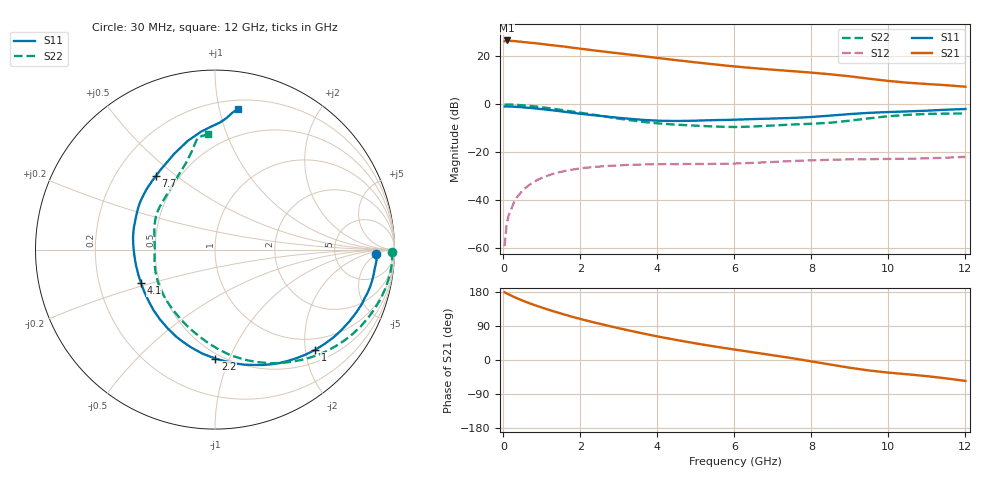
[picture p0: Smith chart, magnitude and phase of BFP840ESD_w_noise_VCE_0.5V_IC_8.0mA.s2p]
! Infineon Technologies  Discrete & RF Semiconductors
! BFP840ESD
! VCE =  0.5 V,  IC =  8.0 mA
! Common Emitter S-Parameters:  May 2012
# GHz  S  MA  R  50
!  f  S11  S21  S12  S22
! GHz  MAG  ANG  MAG  ANG  MAG  ANG  MAG  ANG
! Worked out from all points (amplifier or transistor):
!   93 points, 30 MHz to 12 GHz, reference 50 ohm
!   highest |S21| = 26.6 dB at 80 MHz (marker M1)
!   |S21| within 3 dB of that: start of sweep to 1.782 GHz
!   unconditionally stable (mu >= 1): 5.637 GHz to 11.15 GHz
!   at 1.1 GHz: K = 0.23, MSG = 27.5 dB, |S12| = -30.1 dB
!   at 4.2 GHz: K = 0.75, MSG = 21.9 dB, |S12| = -24.9 dB
!   at 12 GHz: K = 0.87, MSG = 14.6 dB, |S12| = -21.9 dB
!   lowest NFmin = 0.73 dB at 450 MHz
!   S11 on the Smith chart (normalised r, x): 30 MHz: 17, -4; 1 GHz: 0.74, -2.21; 2.2 GHz: 0.46, -0.89; 4.1 GHz: 0.39, -0.18; 7.7 GHz: 0.37, +0.42; 12 GHz: 0.27, +1.14
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0.03  0.8963 -1.5  20.54 178.6  0.0011 79.9  0.9837 -0.7
0.08  0.9021 -3.9  21.34 175.9  0.003 101.0  0.9882 -3.0
0.13  0.8965 -6.6  20.92 173.5  0.0047 84.9  0.9877 -5.1
0.28  0.8886 -13.6  20.74 166.2  0.0092 79.6  0.9768 -11.4
0.5  0.862 -23.8  19.81 156.6  0.0162 73.6  0.9494 -20.2
0.8  0.8216 -36.6  18.84 145.2  0.0243 65.6  0.9005 -31.3
1  0.79 -44.9  18.01 138.3  0.0293 60.0  0.8624 -38.4
1.3  0.7425 -56.5  16.84 128.6  0.0356 52.5  0.8024 -48.5
1.6  0.6936 -67.9  15.86 119.5  0.0407 46.0  0.7411 -58.1
2.1  0.6193 -86.2  14.06 105.6  0.0471 36.8  0.6472 -72.9
2.2  0.6068 -89.8  13.72 103.1  0.0478 35.0  0.63 -75.8
2.6  0.5609 -103.7  12.52 93.2  0.051 29.2  0.5615 -87.0
3.1  0.5118 -121.1  11.27 81.5  0.0535 23.2  0.4875 -101.1
3.6  0.4744 -138.4  10.09 70.6  0.0554 18.0  0.432 -116.3
4.1  0.4523 -155.7  9.016 60.3  0.0562 14.0  0.3949 -131.8
4.9  0.4527 -179.7  7.602 45.5  0.0568 9.1  0.3605 -154.1
6.1  0.4786 156.2  6.036 26.1  0.0584 6.3  0.3368 177.1
7.7  0.5264 128.8  4.759 1.5  0.0664 0.5  0.3833 146.8
8.5  0.58 113.1  4.2 -12.1  0.0695 -4.3  0.4126 129.0
9.5  0.6613 96.8  3.401 -27.7  0.0714 -10.1  0.509 108.5
10.5  0.7084 87.8  2.808 -37.8  0.073 -14.1  0.6007 100.7
12  0.7946 80.6  2.318 -55.1  0.0801 -18.6  0.6426 93.6
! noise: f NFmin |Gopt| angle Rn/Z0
0.45  0.73  0.34  1  0.15
0.9  0.73  0.34  5  0.15
1.5  0.75  0.34  13  0.14
1.9  0.76  0.33  16  0.13
2.4  0.77  0.29  26  0.13
3.5  0.8  0.21  56  0.1
5.5  0.88  0.13  129  0.1
8  1.03  0.3  -134  0.09
10  1.19  0.47  -94  0.16
12  1.4  0.59  -73  0.27
